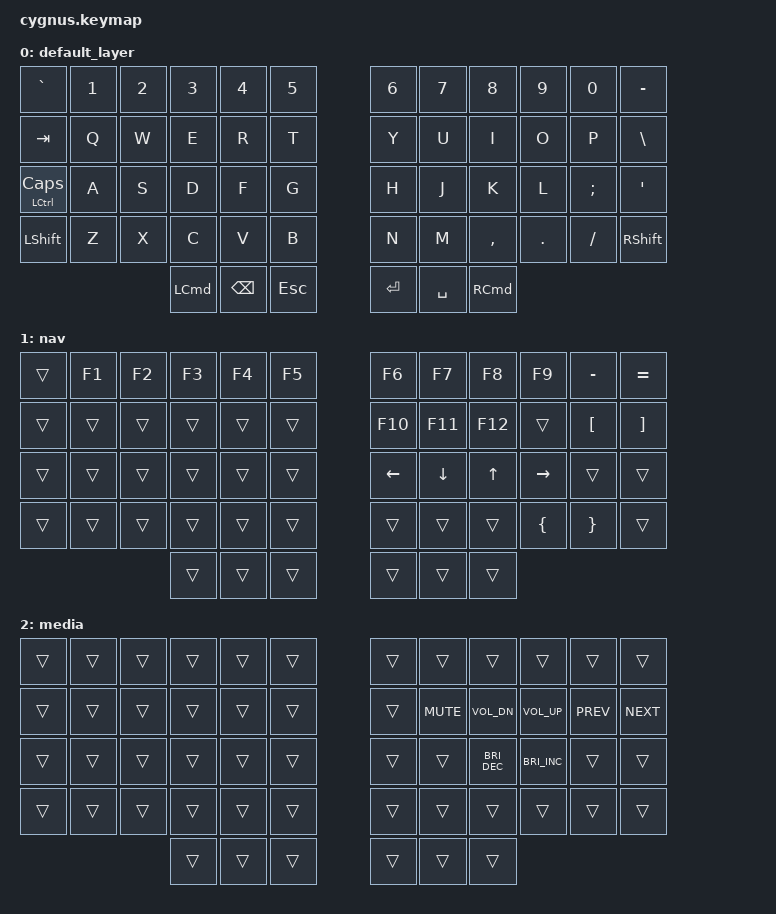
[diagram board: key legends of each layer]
#include <behaviors/rgbled_widget.dtsi>
#include <behaviors.dtsi>
#include <dt-bindings/zmk/keys.h>

/ {
    combos {
        compatible = "zmk,combos";

        mo_nav {
            bindings = <&mo 1>;
            key-positions = <28 27>;
        };

        bootloader {
            bindings = <&bootloader>;
            key-positions = <0 36 11 47>;
        };

        mo-media {
            bindings = <&mo 2>;
            key-positions = <36 24>;
        };

        mo-nav-layer {
            bindings = <&mo 1>;
            key-positions = <31 32>;
        };
    };

    behaviors {
        hml: hml {
            compatible = "zmk,behavior-hold-tap";
            label = "HOME_ROW_LEFT";
            bindings = <&kp>, <&kp>;

            #binding-cells = <2>;
            hold-trigger-key-positions = <6 7 8 9 10 11 18 19 20 21 22 23 30 31 32 33 34 35 42 43 44 45 46 47>;
            tapping-term-ms = <180>;
            quick-tap-ms = <175>;
            require-prior-idle-ms = <150>;
            flavor = "balanced";
            hold-trigger-on-release;
        };

        hmr: hmr {
            compatible = "zmk,behavior-hold-tap";
            label = "HOME_ROW_RIGHT";
            bindings = <&kp>, <&kp>;

            #binding-cells = <2>;
            tapping-term-ms = <180>;
            quick-tap-ms = <175>;
            require-prior-idle-ms = <150>;
            flavor = "balanced";
            hold-trigger-key-positions = <0 1 2 3 4 5 12 13 14 15 16 17 24 25 26 27 28 29 36 37 38 39 40 41>;
            hold-trigger-on-release;
        };
    };

    keymap {
        compatible = "zmk,keymap";

        default_layer {
            // -----------------------------------------------------------------------------------------
            // |  ESC |  1  |  2  |  3  |  4  |  5  |   |  6  |  7   |  8  |  9  |  0  |  ?   |
            // |  TAB |  Q  |  W  |  E  |  R  |  T  |   |  Y  |  U   |  I  |  O  |  P  | BKSP |
            // | CTRL |  A  |  S  |  D  |  F  |  G  |   |  H  |  J   |  K  |  L  |  ;  |  '   |
            // | SHFT |  Z  |  X  |  C  |  V  |  B  |   |  N  |  M   |  ,  |  .  |  /  | ESC  |
            //                    | GUI | LWR | SPC |   | ENT | RSE  | ALT |

            bindings = <
&kp GRAVE           &kp N1  &kp N2  &kp N3            &kp N4         &kp N5        &kp N6     &kp N7     &kp N8             &kp N9   &kp N0     &kp MINUS
&kp TAB             &kp Q   &kp W   &kp E             &kp R          &kp T         &kp Y      &kp U      &kp I              &kp O    &kp P      &kp BSLH
&mt LCTRL CAPSLOCK  &kp A   &kp S   &kp D             &kp F          &kp G         &kp H      &kp J      &kp K              &kp L    &kp SEMI   &kp SQT
&kp LSHFT           &kp Z   &kp X   &kp C             &kp V          &kp B         &kp N      &kp M      &kp COMMA          &kp DOT  &kp SLASH  &kp RIGHT_SHIFT
                                    &kp LEFT_COMMAND  &kp BACKSPACE  &kp ESCAPE    &kp ENTER  &kp SPACE  &kp RIGHT_COMMAND
            >;
        };

        nav {
            bindings = <
&trans  &kp F1  &kp F2  &kp F3  &kp F4  &kp F5    &kp F6    &kp F7    &kp F8   &kp F9          &kp MINUS         &kp EQUAL
&trans  &trans  &trans  &trans  &trans  &trans    &kp F10   &kp F11   &kp F12  &trans          &kp LEFT_BRACKET  &kp RIGHT_BRACKET
&trans  &trans  &trans  &trans  &trans  &trans    &kp LEFT  &kp DOWN  &kp UP   &kp RIGHT       &trans            &trans
&trans  &trans  &trans  &trans  &trans  &trans    &trans    &trans    &trans   &kp LEFT_BRACE  &kp RIGHT_BRACE   &trans
                        &trans  &trans  &trans    &trans    &trans    &trans
            >;
        };

        media {
            bindings = <
&trans  &trans  &trans  &trans  &trans  &trans    &trans  &trans      &trans                &trans                &trans      &trans
&trans  &trans  &trans  &trans  &trans  &trans    &trans  &kp K_MUTE  &kp C_VOL_DN          &kp C_VOL_UP          &kp K_PREV  &kp K_NEXT
&trans  &trans  &trans  &trans  &trans  &trans    &trans  &trans      &kp C_BRIGHTNESS_DEC  &kp C_BRIGHTNESS_INC  &trans      &trans
&trans  &trans  &trans  &trans  &trans  &trans    &trans  &trans      &trans                &trans                &trans      &trans
                        &trans  &trans  &trans    &trans  &trans      &trans
            >;
        };
    };
};
